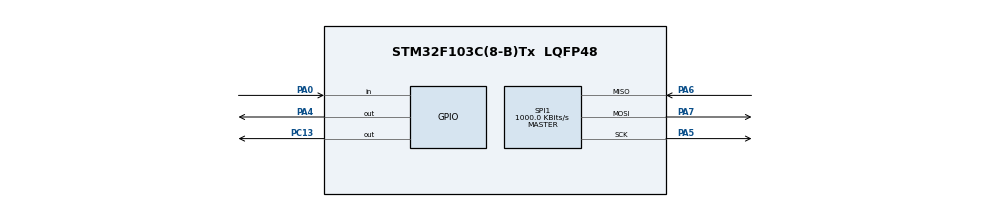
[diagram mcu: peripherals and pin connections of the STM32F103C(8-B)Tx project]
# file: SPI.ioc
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Mcu.Family=STM32F1
Mcu.Name=STM32F103C(8-B)Tx
Mcu.Package=LQFP48
NVIC.PriorityGroup=NVIC_PRIORITYGROUP_4
PA0-WKUP.GPIO_PuPd=GPIO_PULLUP
PA0-WKUP.Signal=GPIO_Input
PA13.Mode=Serial_Wire
PA13.Signal=SYS_JTMS-SWDIO
PA14.Mode=Serial_Wire
PA14.Signal=SYS_JTCK-SWCLK
PA4.GPIO_Speed=GPIO_SPEED_FREQ_HIGH
PA4.PinState=GPIO_PIN_SET
PA4.Signal=GPIO_Output
PA5.Mode=Full_Duplex_Master
PA5.Signal=SPI1_SCK
PA6.Mode=Full_Duplex_Master
PA6.Signal=SPI1_MISO
PA7.Mode=Full_Duplex_Master
PA7.Signal=SPI1_MOSI
PC13-TAMPER-RTC.GPIO_ModeDefaultOutputPP=GPIO_MODE_OUTPUT_OD
PC13-TAMPER-RTC.GPIO_PuPd=GPIO_NOPULL
PC13-TAMPER-RTC.PinState=GPIO_PIN_SET
PC13-TAMPER-RTC.Signal=GPIO_Output
ProjectManager.HeapSize=0x200
ProjectManager.StackSize=0x400
ProjectManager.TargetToolchain=MDK-ARM V5.32
RCC.APB1Freq_Value=8000000
RCC.APB2Freq_Value=8000000
SPI1.BaudRatePrescaler=SPI_BAUDRATEPRESCALER_8
SPI1.CLKPhase=SPI_PHASE_2EDGE
SPI1.CLKPolarity=SPI_POLARITY_HIGH
SPI1.CalculateBaudRate=1000.0 KBits/s
SPI1.Direction=SPI_DIRECTION_2LINES
SPI1.Mode=SPI_MODE_MASTER
SPI1.VirtualType=VM_MASTER
board=custom

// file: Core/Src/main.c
/* USER CODE BEGIN Header */
/**
  ******************************************************************************
  * @file           : main.c
  * @brief          : Main program body
  ******************************************************************************
  * @attention
  *
  * Copyright (c) 2025 STMicroelectronics.
  * All rights reserved.
  *
  * This software is licensed under terms that can be found in the LICENSE file
  * in the root directory of this software component.
  * If no LICENSE file comes with this software, it is provided AS-IS.
  *
  ******************************************************************************
  */
/* USER CODE END Header */
#include "main.h"
#include "spi.h"
#include "gpio.h"

void SystemClock_Config(void);

/* USER CODE BEGIN 0 */
uint8_t LoadLEDState(void)
{
	uint8_t readDataCmd[]={0x03,0x00,0x00,0x00};
	uint8_t ledState;

	HAL_GPIO_WritePin(GPIOA,GPIO_PIN_4,GPIO_PIN_RESET);
	HAL_SPI_Transmit(&hspi1,readDataCmd,4,HAL_MAX_DELAY);
	HAL_SPI_Receive(&hspi1,&ledState,1,HAL_MAX_DELAY);
	HAL_GPIO_WritePin(GPIOA,GPIO_PIN_4,GPIO_PIN_SET);

	return ledState;
}

void SaveLEDState(uint8_t ledState)
{
	//1.写使能
	uint8_t writeEnableCmd[]={0x06};

	HAL_GPIO_WritePin(GPIOA,GPIO_PIN_4,GPIO_PIN_RESET);
	HAL_SPI_Transmit(&hspi1,writeEnableCmd,1,HAL_MAX_DELAY);
	HAL_GPIO_WritePin(GPIOA,GPIO_PIN_4,GPIO_PIN_SET);

	//2.扇区擦除
	uint8_t sectorErase[]={0x20,0x00,0x00,0x00,};
	HAL_GPIO_WritePin(GPIOA,GPIO_PIN_4,GPIO_PIN_RESET);
	HAL_SPI_Transmit(&hspi1,sectorErase,4,HAL_MAX_DELAY);
	HAL_GPIO_WritePin(GPIOA,GPIO_PIN_4,GPIO_PIN_SET);

	HAL_Delay(100);
	//3.写使能
	HAL_GPIO_WritePin(GPIOA,GPIO_PIN_4,GPIO_PIN_RESET);
	HAL_SPI_Transmit(&hspi1,writeEnableCmd,1,HAL_MAX_DELAY);
	HAL_GPIO_WritePin(GPIOA,GPIO_PIN_4,GPIO_PIN_SET);

	//4.页编辑
	uint8_t pageProgCmd[]={0x02,0x00,0x00,0x00,0x00};
	pageProgCmd[4]=ledState;
	HAL_GPIO_WritePin(GPIOA,GPIO_PIN_4,GPIO_PIN_RESET);
	HAL_SPI_Transmit(&hspi1,pageProgCmd,5,HAL_MAX_DELAY);
	HAL_GPIO_WritePin(GPIOA,GPIO_PIN_4,GPIO_PIN_SET);

	HAL_Delay(10);
}
/* USER CODE END 0 */

int main(void)
{

  /* MCU Configuration--------------------------------------------------------*/

  /* Reset of all peripherals, Initializes the Flash interface and the Systick. */
  HAL_Init();

  /* Configure the system clock */
  SystemClock_Config();

  /* Initialize all configured peripherals */
  MX_GPIO_Init();
  MX_SPI1_Init();
  /* USER CODE BEGIN 2 */
	uint8_t pre=1,cur=1;
	uint8_t ledState=0;

	ledState=LoadLEDState();
	ledState=LoadLEDState();

	if(ledState==1)
	{
		HAL_GPIO_WritePin(GPIOC,GPIO_PIN_13,GPIO_PIN_RESET);
	}
	else
	{
		HAL_GPIO_WritePin(GPIOC,GPIO_PIN_13,GPIO_PIN_SET);
	}
  /* USER CODE END 2 */

  /* Infinite loop */
  /* USER CODE BEGIN WHILE */
  while (1)
  {

		pre=cur;

		if(HAL_GPIO_ReadPin(GPIOA,GPIO_PIN_0)==GPIO_PIN_SET)
		{
			cur=1;
		}
		else
		{
			cur=0;
		}
		if(pre!=cur)
		{
			HAL_Delay(10);
			if(cur==0){}
			else
			{
				if(ledState==1){
					HAL_GPIO_WritePin(GPIOC,GPIO_PIN_13,GPIO_PIN_SET);
					ledState=0;
				}
				else
				{
					HAL_GPIO_WritePin(GPIOC,GPIO_PIN_13,GPIO_PIN_RESET);
					ledState=1;
				}
				SaveLEDState(ledState);
			}
		}
    /* USER CODE END WHILE */

  }
}

void SystemClock_Config(void)
{
  RCC_OscInitTypeDef RCC_OscInitStruct = {0};
  RCC_ClkInitTypeDef RCC_ClkInitStruct = {0};

  /** Initializes the RCC Oscillators according to the specified parameters
  * in the RCC_OscInitTypeDef structure.
  */
  RCC_OscInitStruct.OscillatorType = RCC_OSCILLATORTYPE_HSI;
  RCC_OscInitStruct.HSIState = RCC_HSI_ON;
  RCC_OscInitStruct.HSICalibrationValue = RCC_HSICALIBRATION_DEFAULT;
  RCC_OscInitStruct.PLL.PLLState = RCC_PLL_NONE;
  if (HAL_RCC_OscConfig(&RCC_OscInitStruct) != HAL_OK)
  {
    Error_Handler();
  }

  /** Initializes the CPU, AHB and APB buses clocks
  */
  RCC_ClkInitStruct.ClockType = RCC_CLOCKTYPE_HCLK|RCC_CLOCKTYPE_SYSCLK
                              |RCC_CLOCKTYPE_PCLK1|RCC_CLOCKTYPE_PCLK2;
  RCC_ClkInitStruct.SYSCLKSource = RCC_SYSCLKSOURCE_HSI;
  RCC_ClkInitStruct.AHBCLKDivider = RCC_SYSCLK_DIV1;
  RCC_ClkInitStruct.APB1CLKDivider = RCC_HCLK_DIV1;
  RCC_ClkInitStruct.APB2CLKDivider = RCC_HCLK_DIV1;

  if (HAL_RCC_ClockConfig(&RCC_ClkInitStruct, FLASH_LATENCY_0) != HAL_OK)
  {
    Error_Handler();
  }
}

void Error_Handler(void)
{
  __disable_irq();
  while (1)
  {
  }
}
